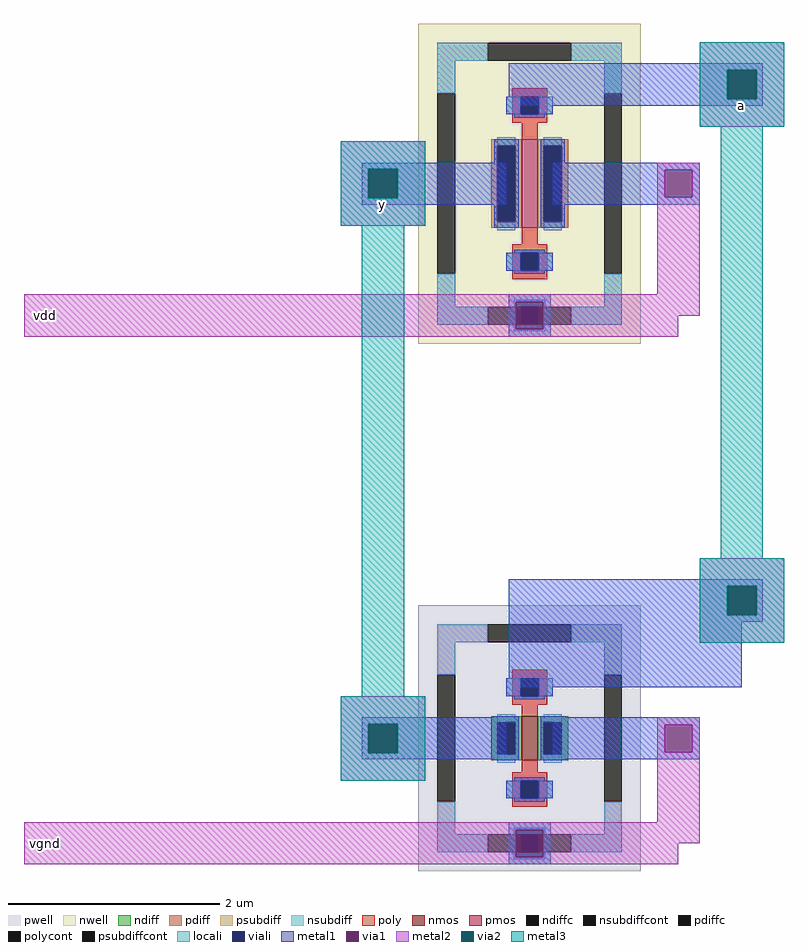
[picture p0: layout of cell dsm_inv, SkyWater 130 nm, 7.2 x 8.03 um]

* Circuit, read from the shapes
.subckt dsm_inv a y vdd vgnd
XM1 vgnd a y vgnd sky130_fd_pr__nfet_01v8 w=0.42 l=0.15
XM2 vdd a y vdd sky130_fd_pr__pfet_01v8 w=0.84 l=0.15
.ends

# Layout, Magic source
magic
tech sky130A
magscale 1 2
<< locali >>
rect 928 1417 988 1430
rect 928 1383 941 1417
rect 975 1383 988 1417
rect 928 1370 988 1383
rect 928 417 988 430
rect 928 383 941 417
rect 975 383 988 417
rect 928 370 988 383
<< viali >>
rect 941 1383 975 1417
rect 941 383 975 417
<< metal1 >>
rect 918 1864 1400 1878
rect 918 1812 1334 1864
rect 1386 1812 1400 1864
rect 918 1798 1400 1812
rect 640 1676 914 1690
rect 640 1624 654 1676
rect 706 1624 914 1676
rect 640 1610 914 1624
rect 1002 1676 1280 1690
rect 1002 1624 1214 1676
rect 1266 1624 1280 1676
rect 1002 1610 1280 1624
rect 918 1426 998 1440
rect 918 1374 932 1426
rect 984 1374 998 1426
rect 918 1360 998 1374
rect 918 886 1400 900
rect 918 834 1334 886
rect 1386 834 1400 886
rect 918 820 1400 834
rect 918 696 1360 820
rect 640 625 914 639
rect 640 573 654 625
rect 706 573 914 625
rect 640 559 914 573
rect 1002 625 1280 639
rect 1002 573 1214 625
rect 1266 573 1280 625
rect 1002 559 1280 573
rect 918 426 998 440
rect 918 374 932 426
rect 984 374 998 426
rect 918 360 998 374
<< via1 >>
rect 1334 1812 1386 1864
rect 654 1624 706 1676
rect 1214 1624 1266 1676
rect 932 1417 984 1426
rect 932 1383 941 1417
rect 941 1383 975 1417
rect 975 1383 984 1417
rect 932 1374 984 1383
rect 1334 834 1386 886
rect 654 573 706 625
rect 1214 573 1266 625
rect 932 417 984 426
rect 932 383 941 417
rect 941 383 975 417
rect 975 383 984 417
rect 932 374 984 383
<< metal2 >>
rect 1280 1866 1440 1918
rect 1280 1810 1332 1866
rect 1388 1810 1440 1866
rect 1280 1758 1440 1810
rect 600 1678 760 1730
rect 600 1622 652 1678
rect 708 1622 760 1678
rect 600 1570 760 1622
rect 1200 1676 1280 1690
rect 1200 1624 1214 1676
rect 1266 1624 1280 1676
rect 1200 1440 1280 1624
rect 0 1426 1280 1440
rect 0 1374 932 1426
rect 984 1400 1280 1426
rect 984 1374 1240 1400
rect 0 1360 1240 1374
rect 1280 888 1440 940
rect 1280 832 1332 888
rect 1388 832 1440 888
rect 1280 780 1440 832
rect 600 627 760 679
rect 600 571 652 627
rect 708 571 760 627
rect 600 519 760 571
rect 1200 625 1280 639
rect 1200 573 1214 625
rect 1266 573 1280 625
rect 1200 440 1280 573
rect 0 426 1280 440
rect 0 374 932 426
rect 984 400 1280 426
rect 984 374 1240 400
rect 0 360 1240 374
<< via2 >>
rect 1332 1864 1388 1866
rect 1332 1812 1334 1864
rect 1334 1812 1386 1864
rect 1386 1812 1388 1864
rect 1332 1810 1388 1812
rect 652 1676 708 1678
rect 652 1624 654 1676
rect 654 1624 706 1676
rect 706 1624 708 1676
rect 652 1622 708 1624
rect 1332 886 1388 888
rect 1332 834 1334 886
rect 1334 834 1386 886
rect 1386 834 1388 886
rect 1332 832 1388 834
rect 652 625 708 627
rect 652 573 654 625
rect 654 573 706 625
rect 706 573 708 625
rect 652 571 708 573
<< metal3 >>
rect 1280 1866 1440 1918
rect 1280 1810 1332 1866
rect 1388 1810 1440 1866
rect 1280 1758 1440 1810
rect 600 1678 760 1730
rect 600 1622 652 1678
rect 708 1622 760 1678
rect 600 1570 760 1622
rect 640 679 720 1570
rect 1320 940 1400 1758
rect 1280 888 1440 940
rect 1280 832 1332 888
rect 1388 832 1440 888
rect 1280 780 1440 832
rect 600 627 760 679
rect 600 571 652 627
rect 708 571 760 627
rect 600 519 760 571
use dsm_tg_n_device  ni
transform 1 0 958 0 1 599
box -211 -252 211 252
use dsm_inv_p_device  pi
transform 1 0 958 0 1 1650
box -211 -303 211 303
<< labels >>
rlabel metal3 1320 1758 1400 1838 0 a
port 1 nsew
rlabel metal3 640 1570 720 1650 0 y
port 2 nsew
rlabel metal2 0 1360 80 1440 0 vdd
port 3 nsew
rlabel metal2 0 360 80 440 0 vgnd
port 4 nsew
<< end >>

# cell dsm_tg_n_device: kit device sky130_fd_pr__nfet_01v8, w 0.42 l 0.15 m 1 nf 1 diffcov 100 polycov 100 guard 1 glc 1 grc 1 gtc 1 gbc 1 tbcov 100 rlcov 100 topc 1 botc 1 poverlap 0 doverlap 1 lmin 0.15 wmin 0.42 class mosfet compatible {sky130_fd_pr__nfet_01v8 sky130_fd_pr__nfet_01v8_lvt sky130_fd_bs_flash__special_sonosfet_star sky130_fd_pr__nfet_g5v0d10v5 sky130_fd_pr__nfet_05v0_nvt sky130_fd_pr__nfet_03v3_nvt} full_metal 1 conn_gates 1 viasrc 100 viadrn 100 viagate 100 viagb 0 viagr 0 viagl 0 viagt 0 doports 1

# cell dsm_inv_p_device: kit device sky130_fd_pr__pfet_01v8, w 0.84 l 0.15 m 1 nf 1 diffcov 100 polycov 100 guard 1 glc 1 grc 1 gtc 1 gbc 1 tbcov 100 rlcov 100 topc 1 botc 1 poverlap 0 doverlap 1 lmin 0.15 wmin 0.42 class mosfet compatible {sky130_fd_pr__pfet_01v8 sky130_fd_pr__pfet_01v8_lvt sky130_fd_pr__pfet_01v8_hvt sky130_fd_pr__pfet_g5v0d10v5} full_metal 1 conn_gates 1 viasrc 100 viadrn 100 viagate 100 viagb 0 viagr 0 viagl 0 viagt 0 doports 1
